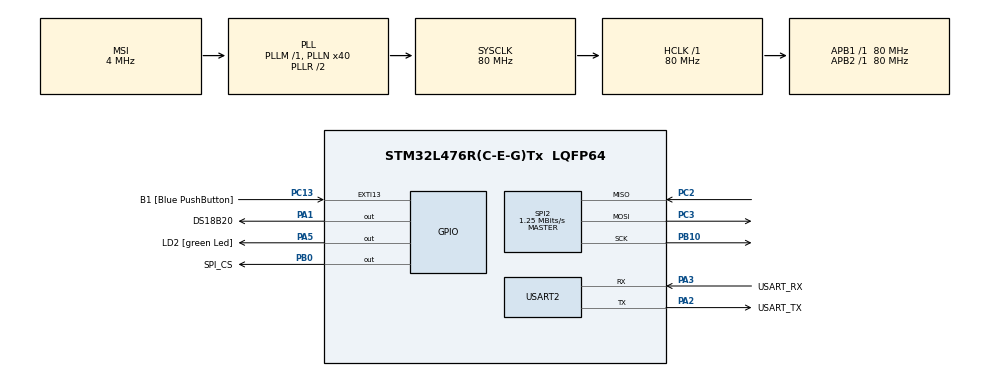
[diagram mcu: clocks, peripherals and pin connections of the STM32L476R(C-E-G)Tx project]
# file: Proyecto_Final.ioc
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Mcu.Family=STM32L4
Mcu.Name=STM32L476R(C-E-G)Tx
Mcu.Package=LQFP64
NVIC.EXTI15_10_IRQn=true\:0\:0\:false\:false\:true\:true\:true\:true
NVIC.PriorityGroup=NVIC_PRIORITYGROUP_4
NVIC.TIM4_IRQn=true\:0\:0\:false\:false\:true\:true\:true\:true
NVIC.USART2_IRQn=true\:0\:0\:false\:false\:true\:true\:true\:true
PA1.GPIO_Label=DS18B20
PA1.Signal=GPIO_Output
PA13\ (JTMS-SWDIO).GPIO_Label=TMS
PA13\ (JTMS-SWDIO).Mode=Serial_Wire
PA13\ (JTMS-SWDIO).Signal=SYS_JTMS-SWDIO
PA14\ (JTCK-SWCLK).GPIO_Label=TCK
PA14\ (JTCK-SWCLK).Mode=Serial_Wire
PA14\ (JTCK-SWCLK).Signal=SYS_JTCK-SWCLK
PA2.GPIO_Label=USART_TX
PA2.GPIO_Mode=GPIO_MODE_AF_PP
PA2.GPIO_PuPd=GPIO_NOPULL
PA2.GPIO_Speed=GPIO_SPEED_FREQ_VERY_HIGH
PA2.Mode=Asynchronous
PA2.Signal=USART2_TX
PA3.GPIO_Label=USART_RX
PA3.GPIO_Mode=GPIO_MODE_AF_PP
PA3.GPIO_PuPd=GPIO_NOPULL
PA3.GPIO_Speed=GPIO_SPEED_FREQ_VERY_HIGH
PA3.Mode=Asynchronous
PA3.Signal=USART2_RX
PA5.GPIO_Label=LD2 [green Led]
PA5.GPIO_ModeDefaultOutputPP=GPIO_MODE_OUTPUT_PP
PA5.GPIO_PuPd=GPIO_NOPULL
PA5.GPIO_Speed=GPIO_SPEED_FREQ_LOW
PA5.Signal=GPIO_Output
PB0.GPIO_Label=SPI_CS
PB0.Signal=GPIO_Output
PB10.Mode=Full_Duplex_Master
PB10.Signal=SPI2_SCK
PB3\ (JTDO-TRACESWO).GPIO_Label=SWO
PB3\ (JTDO-TRACESWO).Signal=SYS_JTDO-SWO
PC13.GPIO_Label=B1 [Blue PushButton]
PC13.GPIO_ModeDefaultEXTI=GPIO_MODE_IT_FALLING
PC13.GPIO_PuPd=GPIO_NOPULL
PC13.Signal=GPXTI13
PC14-OSC32_IN\ (PC14).Mode=LSE-External-Oscillator
PC14-OSC32_IN\ (PC14).Signal=RCC_OSC32_IN
PC15-OSC32_OUT\ (PC15).Mode=LSE-External-Oscillator
PC15-OSC32_OUT\ (PC15).Signal=RCC_OSC32_OUT
PC2.Mode=Full_Duplex_Master
PC2.Signal=SPI2_MISO
PC3.Mode=Full_Duplex_Master
PC3.Signal=SPI2_MOSI
PH0-OSC_IN\ (PH0).Signal=RCC_OSC_IN
PH1-OSC_OUT\ (PH1).Signal=RCC_OSC_OUT
ProjectManager.HeapSize=0x200
ProjectManager.StackSize=0x400
ProjectManager.TargetToolchain=STM32CubeIDE
RCC.ADCFreq_Value=16000000
RCC.AHBFreq_Value=80000000
RCC.APB1Freq_Value=80000000
RCC.APB1TimFreq_Value=80000000
RCC.APB2Freq_Value=80000000
RCC.APB2TimFreq_Value=80000000
RCC.CortexFreq_Value=80000000
RCC.HCLKFreq_Value=80000000
RCC.HSE_VALUE=8000000
RCC.HSI_VALUE=16000000
RCC.MSI_VALUE=4000000
RCC.PLLN=40
RCC.PREFETCH_ENABLE=1
RCC.SYSCLKFreq_VALUE=80000000
RCC.SYSCLKSource=RCC_SYSCLKSOURCE_PLLCLK
RCC.USBFreq_Value=16000000
RCC.VCOOutputFreq_Value=160000000
SPI2.BaudRatePrescaler=SPI_BAUDRATEPRESCALER_64
SPI2.CalculateBaudRate=1.25 MBits/s
SPI2.DataSize=SPI_DATASIZE_8BIT
SPI2.Direction=SPI_DIRECTION_2LINES
SPI2.Mode=SPI_MODE_MASTER
SPI2.VirtualType=VM_MASTER
TIM3.AutoReloadPreload=TIM_AUTORELOAD_PRELOAD_DISABLE
TIM3.ClockDivision=TIM_CLOCKDIVISION_DIV1
TIM3.Period=0xffff-1
TIM3.Prescaler=79
TIM4.AutoReloadPreload=TIM_AUTORELOAD_PRELOAD_ENABLE
TIM4.Period=10
TIM4.Prescaler=7999
USART2.VirtualMode-Asynchronous=VM_ASYNC
VP_TIM3_VS_ClockSourceINT.Mode=Internal
VP_TIM4_VS_ClockSourceINT.Mode=Internal
board=NUCLEO-L476RG

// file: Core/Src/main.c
/* USER CODE BEGIN Header */
/**
  ******************************************************************************
  * @file           : main.c
  * @brief          : Main program body
  ******************************************************************************
  * @attention
  *
  * Copyright (c) 2023 STMicroelectronics.
  * All rights reserved.
  *
  * This software is licensed under terms that can be found in the LICENSE file
  * in the root directory of this software component.
  * If no LICENSE file comes with this software, it is provided AS-IS.
  *
  ******************************************************************************
  */
/* USER CODE END Header */
#include "main.h"

/* USER CODE BEGIN Includes */
#include <string.h>
#include <stdio.h>
#include <stdlib.h>
#include "Flash.h"
#include "ds18b20.h"
#include "machine_control.h"
/* USER CODE END Includes */

SPI_HandleTypeDef hspi2;

TIM_HandleTypeDef htim3;
TIM_HandleTypeDef htim4;

UART_HandleTypeDef huart2;

/* USER CODE BEGIN PV */
uint16_t counter_1ms_a;
//UART
char rx_buffer[ RX_BUFFER_LEN ];
char tx_buffer[ TX_BUFFER_LEN ];
flag_states uart_flag;

//TEMP
uint8_t Temp_byte1, Temp_byte2;
uint16_t TEMP;
float Temperature = 0;
uint16_t Temp_int; //Temp como entero
uint8_t Presence = 0;

//Machine control (sensor)
uint8_t rx_position_counter;
uint16_t value;
uint16_t value_max;
uint16_t value_min;
uint16_t counter_1ms;

//FLASH
uint8_t transmit_text[ 64 ];
extern uint8_t read_flash_Byte[ 255 ];
volatile uint8_t address_to_write[3] ;
uint8_t things_to_write[280];
uint8_t total_things_to_write[280];

//PROMEDIO
float Temp_suma;
float Prom_temp;
uint8_t Conteo_Promedio = 0;
uint8_t Conteo_memoria;
uint8_t total_size;
uint8_t Temp_promedio; //Temperatura promedio como entero para guardar
/* USER CODE END PV */

void SystemClock_Config(void);
static void MX_GPIO_Init(void);
static void MX_USART2_UART_Init(void);
static void MX_TIM3_Init(void);
static void MX_TIM4_Init(void);
static void MX_SPI2_Init(void);

/* USER CODE BEGIN 0 */
void delay (uint32_t us)
{
    __HAL_TIM_SET_COUNTER(&htim3,0); //Counter value at 0
    while ((__HAL_TIM_GET_COUNTER(&htim3))<us); //Wait for the counter to reach the value
}
/* USER CODE END 0 */

int main(void)
{

  /* MCU Configuration--------------------------------------------------------*/

  /* Reset of all peripherals, Initializes the Flash interface and the Systick. */
  HAL_Init();

  /* Configure the system clock */
  SystemClock_Config();

  /* Initialize all configured peripherals */
  MX_GPIO_Init();
  MX_USART2_UART_Init();
  MX_TIM3_Init();
  MX_TIM4_Init();
  MX_SPI2_Init();
  /* USER CODE BEGIN 2 */
  HAL_TIM_Base_Start(&htim3); //Without interruption
  HAL_TIM_Base_Start_IT(&htim4); //With interruption

  /* USER CODE END 2 */

  /* Infinite loop */
  /* USER CODE BEGIN WHILE */
  //FLASH
  Flash_read_identification_id();
  Flash_activate_deactivate_block_protect();
  uint8_t status_reg1;
  uint8_t status_reg2;
  uint8_t status_reg3;

  Flash_read_status1_register( &status_reg1 );
  Flash_read_status2_register( &status_reg2 );
  Flash_read_status3_register( &status_reg3 );

  //Guardados
  //Frecuencia
  Flash_read_page(0x00, 0x32, 0x00, 3); //Leo la pagina 2 registro 3, no necesito más de 3 digitos
  value = atoi((char*)read_flash_Byte);//La lectura la guardo en el value Con esto me aseguro que si reinicio el nucleo me quede guardado el valor mas reciente guardado en la memoria

  //Temperatura maxima
  Flash_read_page(0x00, 0x42, 0x00, 3); //Leo la pagina 2 registro 4
  value_max = atoi((char*)read_flash_Byte);

  //Temperatura minima
  Flash_read_page(0x00, 0x52, 0x00, 3); //Leo la pagina 2 registro 5
  value_min = atoi((char*)read_flash_Byte);

  //Conteo memoria
  Flash_read_page(0x00, 0x12, 0x00, 3); //Leo la pagina 2 registro 1, solo leo 3 datos porque el numero solo llega a 60
  Conteo_memoria = atoi((char*)read_flash_Byte);

  //Total_size para ir moviendome en un solo registro
  Flash_read_page(0x00, 0x22, 0x00, 20); //Leo la pagina 2 registro 2
  total_size = atoi((char*)read_flash_Byte);

  //UART
  rx_position_counter = 0;
  HAL_UART_Receive_IT(&huart2, (uint8_t *) &rx_buffer[rx_position_counter], 1);

  uint16_t tx_len = sprintf(&tx_buffer[0], "Digite el periodo del led de 0 a 200[*100 ms] como #LT$VALOR$\r\nDigite el rango minimo de temperatura de 0 a 125[deg] como #TMPMIN$VALOR$\r\nDigite el rango maximo de temperatura de 0 a 125[deg] como #TMPMAX$VALOR$\r\nSi desea borrar la memoria digite BORRAR \r\nSi desea saber la temperatura promedio actual digite PROMEDIO \r\nSi desea saber la temperatura maxima guardada digite MAX \r\nSi desea saber la temperatura minima guardada digite MIN \r\nSi desea saber el periodo guardado digite PERIODO \r\nSi desea imprimir todos los promedios de temperatura guardados digite TOTAL \r\n");
  HAL_UART_Transmit(&huart2, (const uint8_t *)&tx_buffer[0], tx_len, 100);
  while (1)
  {

	  //TEMP
	  Presence = DS18B20_Start ();

	  DS18B20_Write (0xCC);  // skip ROM
	  DS18B20_Write (0x44);  // convert t

	  //if (counter_1ms_a >= 100){ //Interrupt para leer, en este caso de 100ms como lo pide el ejercicio
	  Presence = DS18B20_Start ();
	  DS18B20_Write (0xCC);  // skip ROM
	  DS18B20_Write (0xBE);  // Read Scratch-pad
	  Temp_byte1 = DS18B20_Read();
	  Temp_byte2 = DS18B20_Read();
	  TEMP = (Temp_byte2<<8)|Temp_byte1;
	  Temperature = (float)TEMP/16;
	  //}

	  Temp_suma += Temperature; //Voy sumando todos los valores de temperatura
	  Conteo_Promedio++; //Espero a 10 valores para hacer un promedio, cada valor toma 100ms en sacar (total 1s)

	  if (Conteo_Promedio == 10) {
		  Prom_temp = Temp_suma / 10;
		  uint8_t size_to_send;
		  uint16_t total_size_to_send;

	      //FLASH
	      if (Conteo_memoria <=  60) { //Me aseguro que solo guarde 60 datos
	    	  Flash_sector_erase(0x00, 0x12, 0x00); //Borro el dato anterior del conteo_memoria para luego sobreescribir
	    	  Flash_sector_erase(0x00, 0x22, 0x00); //Borro la memoria para sobreescribir el total_size

	    	  memset(&things_to_write, 0x00,280);//borra buffer para usarlo en el conteo
	    	  Conteo_memoria++;//Debo guardar este conteo en la flash para que siga en caso de reiniciar
	    	  size_to_send = sprintf((char*)things_to_write, "%d", Conteo_memoria);
	    	  Flash_write_page( 0x00, 0x12, 0x00 , &things_to_write[0] , size_to_send ); //Guardo el conteo en el registro 1 pag 2

	    	  memset(&things_to_write, 0x00,280);//borra buffer para usarlo en los promedios
	    	  Temp_promedio = Prom_temp; //Guardo como entero en la flash
	    	  size_to_send = sprintf((char*)things_to_write, "%d$", Temp_promedio); //No mando mas texto a la flash para no llenarla de basura, el $ me ayuda a separar los valores
	    	  total_size += size_to_send; //Voy corriendo los valores

	    	  //Aqui guardo el total_size en la flash para no sobreescribir datos en caso de reiniciar
	    	  memset(&total_things_to_write, 0x00,280);//borra buffer
	    	  total_size_to_send = sprintf((char*)total_things_to_write, "%d", total_size);
	    	  Flash_write_page( 0x00, 0x22, 0x00 , &total_things_to_write[0] , total_size_to_send ); //Guardo en registro 2 pag 2

	    	  Flash_write_page(0x00, 0x02, total_size, &things_to_write[0], size_to_send); //Escribo promedios en registro 0 pagina 2, el total_size es para no reescribir en donde ya tenia datos, luego solo necesito 1 registro para guardar los 60 datos q crack
	      }
	      else if (Conteo_memoria > 60){

	    	  tx_len = sprintf(&tx_buffer[0], "Se ha reiniciado la memoria de promedios de temperatura \r\n");
	    	  HAL_UART_Transmit(&huart2, (const uint8_t *)&tx_buffer[0], tx_len, 10);
	    	  Flash_sector_erase(0x00, 0x02, 0x00); //Borro desde el inicio 0x00 (TODOS)
	    	  total_size = -size_to_send; //Reinicio total_size, -size_to_send para que empiece en el byte 0
	    	  Conteo_memoria = 0; //Reinicio conteo despues de borrar
	      }
		  //Reset
		  Temp_suma = 0.0;
		  Conteo_Promedio = 0;

	  }
	  Flash_read_page(0x00, 0x02, 0x00, 255); //Siempre estoy leyendo la memoria de los datos de temperatura
	  HAL_Delay(100);

#ifdef UART_ACTIVE //Si mando cualquier señal por UART entro aquí

	  if (uart_flag == ACTIVATED){
		  compare_string(); //Para mandar valores de frecuencia
		  compare_max_temp(); //Para mandar valores de temp maxima
		  compare_min_temp(); //Para mandar valores de temp minima
		  get_avg_temp(); //Para temperatura promedio
		  get_max(); //Para temperatura maxima
		  get_min(); //Para temperatura minima
		  get_period(); //Para periodo
		  get_total(); //Para tener todos los promedios
		  erase_command(); //Para borrar flash
		  uart_flag = RELEASED;
	  }
#endif

    /* USER CODE END WHILE */

  }
}

void SystemClock_Config(void)
{
  RCC_OscInitTypeDef RCC_OscInitStruct = {0};
  RCC_ClkInitTypeDef RCC_ClkInitStruct = {0};

  /** Configure the main internal regulator output voltage
  */
  if (HAL_PWREx_ControlVoltageScaling(PWR_REGULATOR_VOLTAGE_SCALE1) != HAL_OK)
  {
    Error_Handler();
  }

  /** Configure LSE Drive Capability
  */
  HAL_PWR_EnableBkUpAccess();
  __HAL_RCC_LSEDRIVE_CONFIG(RCC_LSEDRIVE_LOW);

  /** Initializes the RCC Oscillators according to the specified parameters
  * in the RCC_OscInitTypeDef structure.
  */
  RCC_OscInitStruct.OscillatorType = RCC_OSCILLATORTYPE_LSE|RCC_OSCILLATORTYPE_MSI;
  RCC_OscInitStruct.LSEState = RCC_LSE_ON;
  RCC_OscInitStruct.MSIState = RCC_MSI_ON;
  RCC_OscInitStruct.MSICalibrationValue = 0;
  RCC_OscInitStruct.MSIClockRange = RCC_MSIRANGE_6;
  RCC_OscInitStruct.PLL.PLLState = RCC_PLL_ON;
  RCC_OscInitStruct.PLL.PLLSource = RCC_PLLSOURCE_MSI;
  RCC_OscInitStruct.PLL.PLLM = 1;
  RCC_OscInitStruct.PLL.PLLN = 40;
  RCC_OscInitStruct.PLL.PLLP = RCC_PLLP_DIV7;
  RCC_OscInitStruct.PLL.PLLQ = RCC_PLLQ_DIV2;
  RCC_OscInitStruct.PLL.PLLR = RCC_PLLR_DIV2;
  if (HAL_RCC_OscConfig(&RCC_OscInitStruct) != HAL_OK)
  {
    Error_Handler();
  }

  /** Initializes the CPU, AHB and APB buses clocks
  */
  RCC_ClkInitStruct.ClockType = RCC_CLOCKTYPE_HCLK|RCC_CLOCKTYPE_SYSCLK
                              |RCC_CLOCKTYPE_PCLK1|RCC_CLOCKTYPE_PCLK2;
  RCC_ClkInitStruct.SYSCLKSource = RCC_SYSCLKSOURCE_PLLCLK;
  RCC_ClkInitStruct.AHBCLKDivider = RCC_SYSCLK_DIV1;
  RCC_ClkInitStruct.APB1CLKDivider = RCC_HCLK_DIV1;
  RCC_ClkInitStruct.APB2CLKDivider = RCC_HCLK_DIV1;

  if (HAL_RCC_ClockConfig(&RCC_ClkInitStruct, FLASH_LATENCY_4) != HAL_OK)
  {
    Error_Handler();
  }

  /** Enable MSI Auto calibration
  */
  HAL_RCCEx_EnableMSIPLLMode();
}

static void MX_SPI2_Init(void)
{

  /* SPI2 parameter configuration*/
  hspi2.Instance = SPI2;
  hspi2.Init.Mode = SPI_MODE_MASTER;
  hspi2.Init.Direction = SPI_DIRECTION_2LINES;
  hspi2.Init.DataSize = SPI_DATASIZE_8BIT;
  hspi2.Init.CLKPolarity = SPI_POLARITY_LOW;
  hspi2.Init.CLKPhase = SPI_PHASE_1EDGE;
  hspi2.Init.NSS = SPI_NSS_SOFT;
  hspi2.Init.BaudRatePrescaler = SPI_BAUDRATEPRESCALER_64;
  hspi2.Init.FirstBit = SPI_FIRSTBIT_MSB;
  hspi2.Init.TIMode = SPI_TIMODE_DISABLE;
  hspi2.Init.CRCCalculation = SPI_CRCCALCULATION_DISABLE;
  hspi2.Init.CRCPolynomial = 7;
  hspi2.Init.CRCLength = SPI_CRC_LENGTH_DATASIZE;
  hspi2.Init.NSSPMode = SPI_NSS_PULSE_ENABLE;
  if (HAL_SPI_Init(&hspi2) != HAL_OK)
  {
    Error_Handler();
  }

}

static void MX_TIM3_Init(void)
{

  TIM_ClockConfigTypeDef sClockSourceConfig = {0};
  TIM_MasterConfigTypeDef sMasterConfig = {0};

  htim3.Instance = TIM3;
  htim3.Init.Prescaler = 79;
  htim3.Init.CounterMode = TIM_COUNTERMODE_UP;
  htim3.Init.Period = 0xffff-1;
  htim3.Init.ClockDivision = TIM_CLOCKDIVISION_DIV1;
  htim3.Init.AutoReloadPreload = TIM_AUTORELOAD_PRELOAD_DISABLE;
  if (HAL_TIM_Base_Init(&htim3) != HAL_OK)
  {
    Error_Handler();
  }
  sClockSourceConfig.ClockSource = TIM_CLOCKSOURCE_INTERNAL;
  if (HAL_TIM_ConfigClockSource(&htim3, &sClockSourceConfig) != HAL_OK)
  {
    Error_Handler();
  }
  sMasterConfig.MasterOutputTrigger = TIM_TRGO_RESET;
  sMasterConfig.MasterSlaveMode = TIM_MASTERSLAVEMODE_DISABLE;
  if (HAL_TIMEx_MasterConfigSynchronization(&htim3, &sMasterConfig) != HAL_OK)
  {
    Error_Handler();
  }

}

static void MX_TIM4_Init(void)
{

  TIM_ClockConfigTypeDef sClockSourceConfig = {0};
  TIM_MasterConfigTypeDef sMasterConfig = {0};

  htim4.Instance = TIM4;
  htim4.Init.Prescaler = 7999;
  htim4.Init.CounterMode = TIM_COUNTERMODE_UP;
  htim4.Init.Period = 10;
  htim4.Init.ClockDivision = TIM_CLOCKDIVISION_DIV1;
  htim4.Init.AutoReloadPreload = TIM_AUTORELOAD_PRELOAD_ENABLE;
  if (HAL_TIM_Base_Init(&htim4) != HAL_OK)
  {
    Error_Handler();
  }
  sClockSourceConfig.ClockSource = TIM_CLOCKSOURCE_INTERNAL;
  if (HAL_TIM_ConfigClockSource(&htim4, &sClockSourceConfig) != HAL_OK)
  {
    Error_Handler();
  }
  sMasterConfig.MasterOutputTrigger = TIM_TRGO_RESET;
  sMasterConfig.MasterSlaveMode = TIM_MASTERSLAVEMODE_DISABLE;
  if (HAL_TIMEx_MasterConfigSynchronization(&htim4, &sMasterConfig) != HAL_OK)
  {
    Error_Handler();
  }

}

static void MX_USART2_UART_Init(void)
{

  huart2.Instance = USART2;
  huart2.Init.BaudRate = 115200;
  huart2.Init.WordLength = UART_WORDLENGTH_8B;
  huart2.Init.StopBits = UART_STOPBITS_1;
  huart2.Init.Parity = UART_PARITY_NONE;
  huart2.Init.Mode = UART_MODE_TX_RX;
  huart2.Init.HwFlowCtl = UART_HWCONTROL_NONE;
  huart2.Init.OverSampling = UART_OVERSAMPLING_16;
  huart2.Init.OneBitSampling = UART_ONE_BIT_SAMPLE_DISABLE;
  huart2.AdvancedInit.AdvFeatureInit = UART_ADVFEATURE_NO_INIT;
  if (HAL_UART_Init(&huart2) != HAL_OK)
  {
    Error_Handler();
  }

}

static void MX_GPIO_Init(void)
{
  GPIO_InitTypeDef GPIO_InitStruct = {0};

  /* GPIO Ports Clock Enable */
  __HAL_RCC_GPIOC_CLK_ENABLE();
  __HAL_RCC_GPIOH_CLK_ENABLE();
  __HAL_RCC_GPIOA_CLK_ENABLE();
  __HAL_RCC_GPIOB_CLK_ENABLE();

  /*Configure GPIO pin Output Level */
  HAL_GPIO_WritePin(GPIOA, DS18B20_Pin|LD2_Pin, GPIO_PIN_RESET);

  /*Configure GPIO pin Output Level */
  HAL_GPIO_WritePin(SPI_CS_GPIO_Port, SPI_CS_Pin, GPIO_PIN_RESET);

  /*Configure GPIO pin : B1_Pin */
  GPIO_InitStruct.Pin = B1_Pin;
  GPIO_InitStruct.Mode = GPIO_MODE_IT_FALLING;
  GPIO_InitStruct.Pull = GPIO_NOPULL;
  HAL_GPIO_Init(B1_GPIO_Port, &GPIO_InitStruct);

  /*Configure GPIO pins : DS18B20_Pin LD2_Pin */
  GPIO_InitStruct.Pin = DS18B20_Pin|LD2_Pin;
  GPIO_InitStruct.Mode = GPIO_MODE_OUTPUT_PP;
  GPIO_InitStruct.Pull = GPIO_NOPULL;
  GPIO_InitStruct.Speed = GPIO_SPEED_FREQ_LOW;
  HAL_GPIO_Init(GPIOA, &GPIO_InitStruct);

  /*Configure GPIO pin : SPI_CS_Pin */
  GPIO_InitStruct.Pin = SPI_CS_Pin;
  GPIO_InitStruct.Mode = GPIO_MODE_OUTPUT_PP;
  GPIO_InitStruct.Pull = GPIO_NOPULL;
  GPIO_InitStruct.Speed = GPIO_SPEED_FREQ_LOW;
  HAL_GPIO_Init(SPI_CS_GPIO_Port, &GPIO_InitStruct);

  /* EXTI interrupt init*/
  HAL_NVIC_SetPriority(EXTI15_10_IRQn, 0, 0);
  HAL_NVIC_EnableIRQ(EXTI15_10_IRQn);

}

/* USER CODE BEGIN 4 */
void HAL_GPIO_EXTI_Callback(uint16_t GPIO_Pin)
{
  /* Prevent unused argument(s) compilation warning */
/*
#ifdef BUTTON_ACTIVE
  if (GPIO_Pin == B1_Pin){
	  change_to_next_state();
  }
#endif
*/
  /* NOTE: This function should not be modified, when the callback is needed,
           the HAL_GPIO_EXTI_Callback could be implemented in the user file
   */
}
#ifdef UART_ACTIVE
void HAL_UART_RxCpltCallback(UART_HandleTypeDef *huart){

	if ( huart == &huart2){
		rx_position_counter++;
		HAL_UART_Receive_IT(&huart2, (uint8_t *) &rx_buffer[rx_position_counter], 1);
		uart_flag = ACTIVATED;
	}

}
#endif
/* USER CODE END 4 */

void Error_Handler(void)
{
  __disable_irq();
  while (1)
  {
  }
}
